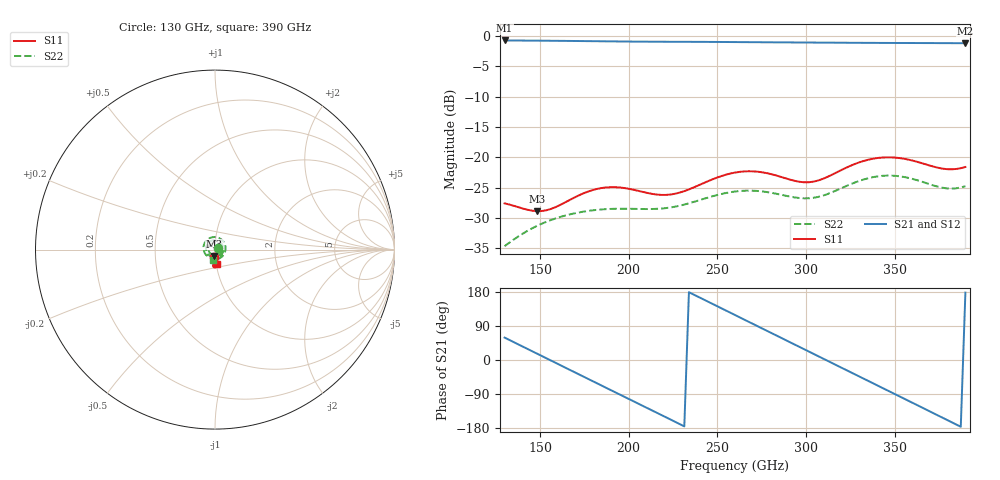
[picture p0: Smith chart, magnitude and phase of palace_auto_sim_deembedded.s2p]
! Created with skrf 1.11.0 (http://scikit-rf.org).
# GHz S DB R 50.0
!freq dBS11 angS11 dBS21 angS21 dBS12 angS12 dBS22 angS22
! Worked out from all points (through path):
!   101 points, 130 GHz to 390 GHz, reference 50 ohm
!   highest |S21| = -0.77 dB at 130 GHz (marker M1); lowest = -1.2 dB at 390 GHz (marker M2)
!   group delay of S21, straight-line fit = 6.42 ps
!   lowest |S11| = -28.9 dB at 148.2 GHz (marker M3), VSWR 1.07, Z = 49.5 - j3.56 ohm
!   |S11| at or under -10 dB: start of sweep to end of sweep
!   |S22| runs from -34.6 to -23.0 dB; largest |S21 - S12| = 1e-13
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130  -27.59 -99.8  -0.77 59.1  -0.77 59.1  -34.63 21.5
148.2  -28.87 -95.5  -0.80 17.0  -0.80 17.0  -31.30 -61.1
161.2  -27.87 -85.0  -0.83 -13.1  -0.83 -13.1  -29.84 -116.1
174.2  -25.97 -84.9  -0.87 -43.1  -0.87 -43.1  -28.96 -171.1
184.6  -25.07 -90.3  -0.90 -67.2  -0.90 -67.2  -28.59 144.2
195  -24.97 -96.2  -0.94 -91.1  -0.94 -91.1  -28.47 98.3
205.4  -25.52 -98.8  -0.96 -115.1  -0.96 -115.1  -28.51 50.2
218.4  -26.19 -93.8  -0.98 -145.1  -0.98 -145.1  -28.44 -13.6
228.8  -25.81 -86.3  -0.99 -169.1  -0.99 -169.1  -27.97 -66.1
239.2  -24.65 -82.0  -1.00 166.9  -1.00 166.9  -27.12 -116.8
260  -22.52 -87.6  -1.04 118.7  -1.04 118.7  -25.63 151.1
270.4  -22.32 -93.6  -1.06 94.6  -1.06 94.6  -25.50 107.2
280.8  -22.80 -97.7  -1.08 70.6  -1.08 70.6  -25.86 61.9
293.8  -23.89 -95.3  -1.10 40.5  -1.10 40.5  -26.61 -0.4
304.2  -24.02 -86.4  -1.12 16.4  -1.12 16.4  -26.68 -55.4
314.6  -22.89 -79.2  -1.13 -7.6  -1.13 -7.6  -25.78 -109.8
325  -21.42 -78.9  -1.15 -31.7  -1.15 -31.7  -24.46 -159.1
338  -20.23 -85.1  -1.17 -61.7  -1.17 -61.7  -23.26 145.7
348.4  -20.02 -91.4  -1.18 -85.8  -1.18 -85.8  -23.02 103.4
366.6  -21.07 -97.3  -1.20 -127.9  -1.20 -127.9  -24.13 24.8
379.6  -21.96 -91.4  -1.21 -158.1  -1.21 -158.1  -25.12 -42.0
390  -21.60 -83.3  -1.23 177.8  -1.23 177.8  -24.76 -99.3
